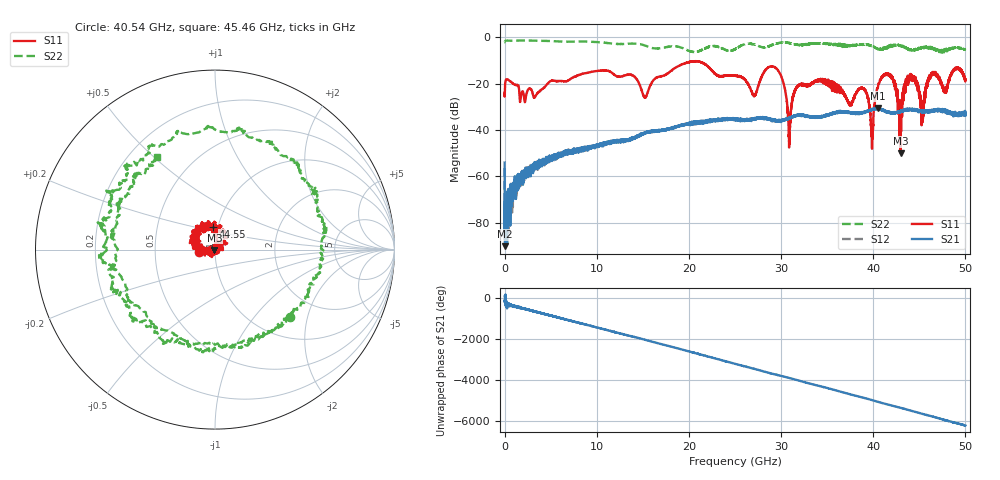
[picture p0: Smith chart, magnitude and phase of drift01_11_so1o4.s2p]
!Created with skrf (http://scikit-rf.org).
# Hz S RI R 50.0
!freq ReS11 ImS11 ReS21 ImS21 ReS12 ImS12 ReS22 ImS22
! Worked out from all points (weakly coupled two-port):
!   10001 points, 300 kHz to 50 GHz, reference 50 ohm
!   highest |S21| = -30.50 dB at 40.54 GHz (marker M1); lowest = -90.2 dB at 45.3 MHz (marker M2)
!   lowest |S11| = -50.1 dB at 42.98 GHz (marker M3), VSWR 1.01, Z = 49.7 - j0.143 ohm
!   |S11| at or under -10 dB: start of sweep to end of sweep
!   |S22| runs from -6.6 to -1.4 dB; largest |S21 - S12| = 0.0038
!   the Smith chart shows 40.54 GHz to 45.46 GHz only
!   S11 on the Smith chart (normalised r, x): 40.54 GHz: 0.83, -0.03; 44.55 GHz: 0.95, +0.25; 45.46 GHz: 0.93, -0.00
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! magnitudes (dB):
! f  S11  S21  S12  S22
! 300 kHz  -23.9  -54.1  -56.6  -2.1
! 45.3 MHz  -21.0  -90.2  -87.1  -1.7
! 260.3 MHz  -18.1  -74.2  -82.2  -1.4
! 2.885 GHz  -22.5  -58.0  -56.8  -1.4
! 8.335 GHz  -15.9  -49.3  -47.9  -1.8
! 15.23 GHz  -26.1  -41.2  -41.3  -3.6
! 16.67 GHz  -17.1  -40.5  -40.3  -4.8
! 25 GHz  -16.6  -35.0  -35.4  -5.1
! 27.1 GHz  -25.3  -35.0  -35.2  -3.2
! 29.42 GHz  -13.2  -35.7  -36.0  -2.7
! 30.91 GHz  -46.0  -34.9  -34.9  -2.5
! 31.67 GHz  -21.6  -34.0  -33.9  -3.2
! 33.34 GHz  -20.0  -34.2  -34.2  -2.6
! 38.92 GHz  -22.1  -32.5  -32.5  -3.0
! 39.86 GHz  -44.9  -31.1  -31.2  -3.8
! 40.54 GHz  -20.8  -30.5  -30.9  -5.1
! 41.67 GHz  -16.3  -32.3  -32.2  -4.2
! 42.98 GHz  -50.1  -32.1  -32.1  -3.7
! 44.55 GHz  -17.8  -31.7  -31.6  -5.4
! 45.46 GHz  -28.5  -31.9  -32.0  -4.3
! 46.42 GHz  -15.9  -31.6  -31.8  -4.7
! 50 GHz  -18.1  -33.7  -33.4  -5.5
